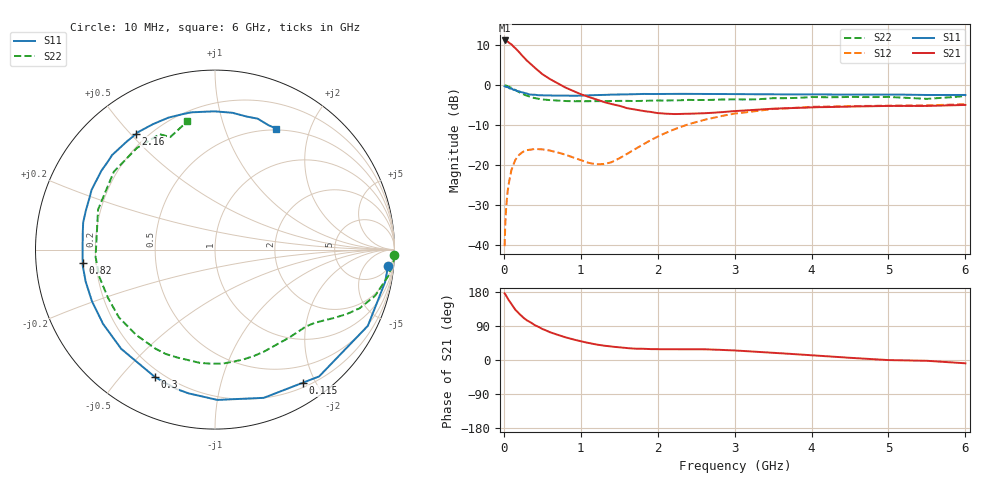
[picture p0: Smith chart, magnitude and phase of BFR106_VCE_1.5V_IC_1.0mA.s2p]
! Infineon Technologies  Discrete & RF Semiconductors
! BFR106
! VCE =  1.5 V,  IC =  1.0 mA
! Common Emitter S-Parameters:  Nov 2015
# GHz  S  MA  R  50
!  f  S11  S21  S12  S22
! GHz  MAG  ANG  MAG  ANG  MAG  ANG  MAG  ANG
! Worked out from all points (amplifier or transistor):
!   210 points, 10 MHz to 6 GHz, reference 50 ohm
!   highest |S21| = 11.2 dB at 10 MHz (marker M1)
!   |S21| within 3 dB of that: start of sweep to 202.4 MHz
!   unconditionally stable (mu >= 1): 846.3 MHz to end of sweep
!   at 185 MHz: K = 0.21, MSG = 13.2 dB, |S12| = -17.8 dB
!   at 1.52 GHz: K = 1.44, MAG = 2.5 dB, |S12| = -18.1 dB
!   at 6 GHz: K = 1.02, MAG = -1.0 dB, |S12| = -4.7 dB
!   S11 on the Smith chart (normalised r, x): 10 MHz: 6, -19; 115 MHz: 0.26, -1.82; 300 MHz: 0.17, -0.62; 820 MHz: 0.15, -0.05; 2.16 GHz: 0.16, +0.52; 6 GHz: 0.48, +1.51
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0.01  0.9689 -5.4  3.641 175.8  0.0096 88.1  0.9988 -1.8
0.025  0.9576 -13.5  3.614 171.3  0.0239 80.3  0.9936 -4.4
0.045  0.9489 -23.9  3.544 163.9  0.0423 74.9  0.9795 -7.8
0.1  0.9143 -50.6  3.248 147.1  0.0874 61.5  0.9281 -16.1
0.115  0.8882 -56.7  3.127 143.1  0.0955 57.2  0.9095 -17.8
0.15  0.8695 -71.8  2.914 132.5  0.1161 49.6  0.8694 -22.1
0.2  0.8376 -89.1  2.594 122.0  0.1347 41.1  0.8179 -26.0
0.26  0.8052 -105.7  2.234 110.7  0.1481 32.4  0.7646 -29.9
0.3  0.785 -115.2  2.036 104.6  0.1535 28.4  0.7389 -31.8
0.4  0.7608 -133.4  1.662 92.2  0.1588 20.0  0.69 -36.2
0.5  0.7486 -146.4  1.378 81.9  0.157 14.8  0.6635 -40.2
0.6  0.7435 -157.2  1.194 73.3  0.1516 11.2  0.6506 -44.7
0.82  0.7408 -174.4  0.918 58.9  0.1326 9.6  0.6328 -55.2
1.02  0.7428 172.7  0.759 48.4  0.113 14.9  0.6301 -65.4
1.4  0.7639 154.2  0.58 35.4  0.1084 45.5  0.6368 -86.3
2.02  0.7772 129.3  0.446 28.5  0.2315 63.4  0.6432 -122.4
2.16  0.7802 124.4  0.437 28.3  0.2662 61.6  0.6445 -130.5
2.6  0.7803 110.0  0.445 28.3  0.3669 52.3  0.6539 -155.6
3.1  0.7733 97.9  0.48 23.9  0.4519 39.4  0.6626 179.0
4.1  0.7665 81.6  0.531 11.2  0.5381 17.2  0.708 139.4
5.1  0.7642 70.9  0.55 -0.6  0.5553 2.3  0.7052 114.9
6  0.7552 63.3  0.566 -8.7  0.5798 -7.7  0.731 102.1
